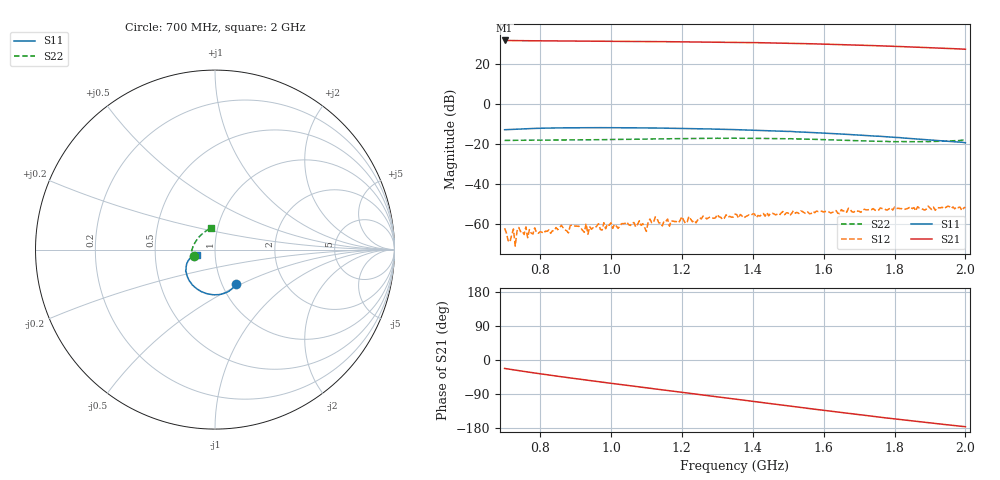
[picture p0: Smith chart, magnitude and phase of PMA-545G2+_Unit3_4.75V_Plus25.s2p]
!Mini-Circuits Laboratory
!S-Parameters
!Model: PMA-545G2+
!Run / Lot / Date Code: N/A / N/A / NA
!Fixture: NA; TEST BOARD: TB-607+
!AUTO PORT EXTENSION DONE: PORT<1>=120.99ps; PORT<2>=143.047ps
!Network Analyzer: PNA-X N5242A - 423 4 ports;  Serial number: 71256
!Date: 1/11/2011
!S/N: Unit# 3
# Hz  S  dB  R  50
!Frequency  S11 dB  S11 Deg  S21 dB  S21 Deg  S12 dB  S12 Deg  S22 dB  S22 Deg
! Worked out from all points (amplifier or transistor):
!   261 points, 700 MHz to 2 GHz, reference 50 ohm
!   highest |S21| = 31.5 dB at 700 MHz (marker M1)
!   |S21| within 3 dB of that: start of sweep to 1.812 GHz
!   unconditionally stable (mu >= 1): start of sweep to end of sweep
!   at 915 MHz: K = 16.09, MAG = 31.5 dB, |S12| = -62.0 dB
!   at 1.35 GHz: K = 7.86, MAG = 30.9 dB, |S12| = -55.1 dB
!   at 2 GHz: K = 8.20, MAG = 27.3 dB, |S12| = -51.7 dB
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7e8  -13.01 -59.2  31.51 -22.2  -62.15 117.4  -18.36 -162.8
7.15e8  -12.84 -60.9  31.48 -24.5  -69.02 161.5  -18.31 -162.2
7.25e8  -12.76 -62.1  31.45 -26.0  -62.53 143.1  -18.33 -161.8
7.3e8  -12.72 -62.6  31.44 -26.7  -71.08 147.5  -18.27 -161.9
7.4e8  -12.64 -63.8  31.42 -28.1  -61.79 144.2  -18.28 -161.5
8.1e8  -12.23 -72.0  31.29 -37.7  -64.69 151.0  -18.19 -159.2
8.6e8  -12.08 -77.9  31.22 -44.2  -60.66 110.7  -18.09 -158.1
9.2e8  -11.99 -84.7  31.15 -51.7  -63.17 131.3  -18.05 -156.6
9.85e8  -11.99 -91.8  31.08 -59.6  -62.36 138.8  -17.96 -154.9
1.035e9  -12.02 -97.4  31.03 -65.6  -59.82 127.7  -17.81 -154.1
1.135e9  -12.18 -108.1  30.93 -77.5  -59.44 136.9  -17.57 -153.4
1.19e9  -12.34 -113.8  30.86 -84.1  -59.48 126.8  -17.46 -154.3
1.245e9  -12.52 -119.3  30.78 -90.6  -57.95 122.7  -17.35 -155.4
1.35e9  -12.95 -129.6  30.57 -103.2  -55.11 121.9  -17.25 -160.1
1.445e9  -13.51 -138.2  30.31 -114.5  -55.97 118.1  -17.36 -166.4
1.51e9  -13.90 -143.9  30.09 -122.3  -54.71 110.8  -17.50 -172.1
1.57e9  -14.44 -148.4  29.84 -129.3  -53.77 114.4  -17.78 -178.9
1.635e9  -15.02 -152.8  29.53 -136.9  -53.30 113.0  -18.11 172.4
1.68e9  -15.48 -155.4  29.30 -142.0  -53.95 103.5  -18.44 165.6
1.785e9  -16.63 -160.6  28.67 -153.7  -52.40 101.0  -18.92 146.5
1.88e9  -17.85 -163.5  28.04 -163.9  -52.63 100.4  -18.92 126.7
2e9  -19.52 -164.6  27.14 -176.1  -51.66 99.0  -18.12 101.0
